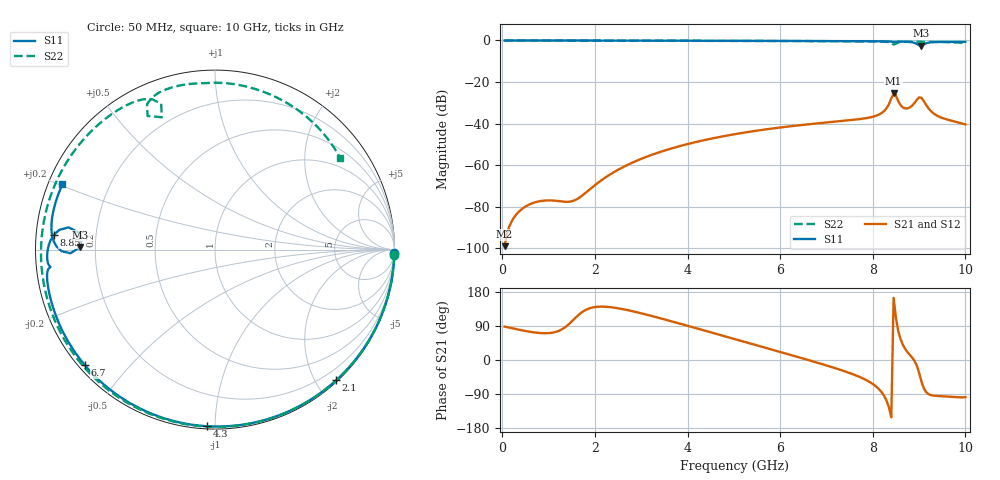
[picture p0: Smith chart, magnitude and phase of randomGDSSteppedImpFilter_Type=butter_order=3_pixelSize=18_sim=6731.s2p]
! freq	dB(S11)	phase(S11)	dB(S12)	phase(S12)
!  dB(S21)	phase(S21)	dB(S22)	phase(S22)
!S-par simulation data
#  GHz  S  DB  R 50
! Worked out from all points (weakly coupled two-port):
!   200 points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, 50 MHz to 10 GHz, reference 50 ohm
!   highest |S21| = -25.50 dB at 8.45 GHz (marker M1); lowest = -99.0 dB at 50 MHz (marker M2)
!   lowest |S11| = -2.5 dB at 9.05 GHz (marker M3), VSWR 7.00, Z = 7.15 + j0.495 ohm
!   |S11| at or under -10 dB: nowhere
!   |S22| runs from -2.0 to 0.0 dB; largest |S21 - S12| = 0
!   S11 on the Smith chart (normalised r, x): 50 MHz: 1, -98; 2.1 GHz: 0.02, -2.29; 4.3 GHz: 0.01, -0.96; 6.7 GHz: 0.02, -0.38; 8.85 GHz: 0.05, +0.04; 10 GHz: 0.04, +0.20
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0.05  -0.00 -1.2  -98.98 88.1  -98.98 88.1  -0.00 -1.8
0.7  -0.02 -16.0  -77.93 72.6  -77.93 72.6  -0.03 -25.1
1.45  -0.04 -32.9  -77.59 96.0  -77.59 96.0  -0.06 -50.9
1.75  -0.05 -39.5  -74.19 128.6  -74.19 128.6  -0.07 -60.8
2.1  -0.06 -47.1  -67.93 140.8  -67.93 140.8  -0.09 -72.0
2.7  -0.08 -60.0  -59.92 131.8  -59.92 131.8  -0.11 -90.4
3.4  -0.10 -74.5  -53.71 110.5  -53.71 110.5  -0.13 -110.5
4.3  -0.13 -92.6  -48.26 80.0  -48.26 80.0  -0.17 -134.7
5.05  -0.16 -107.1  -44.98 54.1  -44.98 54.1  -0.21 -153.9
6.7  -0.27 -138.4  -40.13 -3.4  -40.13 -3.4  -0.32 164.1
8  -0.39 -164.0  -36.71 -63.2  -36.71 -63.2  -0.46 126.8
8.2  -0.43 -168.3  -34.79 -86.5  -34.79 -86.5  -0.53 119.6
8.35  -0.50 -172.0  -30.61 -125.1  -30.61 -125.1  -0.83 112.7
8.45  -0.71 -174.0  -25.50 164.0  -25.50 164.0  -2.00 111.9
8.5  -0.68 -174.1  -26.47 111.3  -26.47 111.3  -1.58 116.8
8.65  -0.58 -178.1  -32.24 40.1  -32.24 40.1  -0.64 109.6
8.85  -0.89 174.9  -31.36 6.4  -31.36 6.4  -0.59 100.7
8.95  -1.67 171.3  -28.58 -14.4  -28.58 -14.4  -0.61 96.5
9.05  -2.50 178.8  -27.56 -56.3  -27.56 -56.3  -0.64 92.4
9.35  -0.76 173.7  -35.68 -94.5  -35.68 -94.5  -0.68 78.6
9.7  -0.66 164.3  -38.62 -97.4  -38.62 -97.4  -0.88 58.9
10  -0.68 156.9  -40.43 -98.3  -40.43 -98.3  -1.26 36.2
